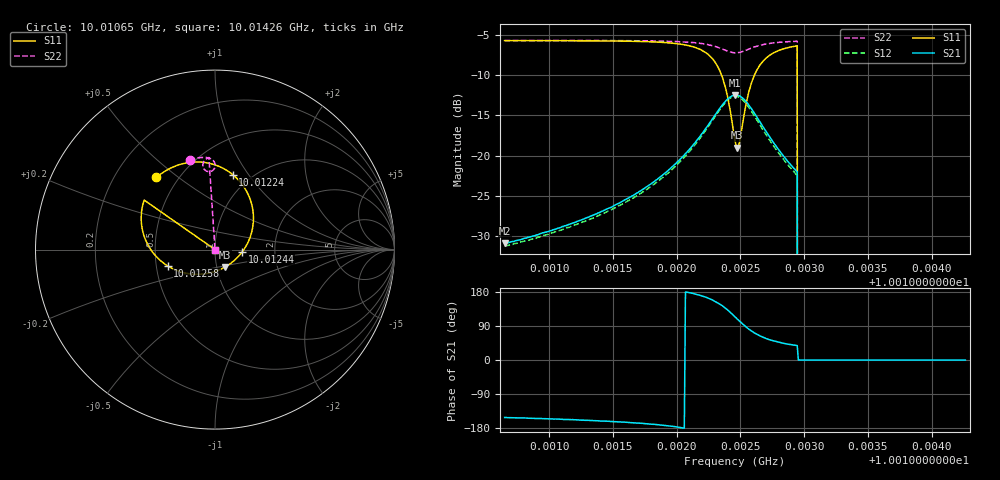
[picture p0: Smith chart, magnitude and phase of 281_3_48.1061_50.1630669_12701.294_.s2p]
#  HZ  S  RI  R  50.00
! Rohde & Schwarz Vector Network Analyzer
! Rohde-Schwarz,ZNB20-2Port,1311601062101988,3.16
! Created: UTC 12/23/2023, 4:02:46 AM
! freq[Hz]  re:S11  im:S11  re:S21  im:S21  re:S12  im:S12  re:S22  im:S22
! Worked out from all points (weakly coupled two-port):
!   401 points, 10.01065 GHz to 10.01426 GHz, reference 50 ohm
!   highest |S21| = -12.46 dB at 10.01246 GHz (marker M1); lowest = -30.9 dB at 10.01065 GHz (marker M2)
!   lowest |S11| = -19.0 dB at 10.01248 GHz (marker M3), VSWR 1.25, Z = 54.8 - j10.8 ohm
!   |S11| at or under -10 dB: 10.01235 GHz to 10.01261 GHz (257.5 kHz wide, 0.00257 % of centre); 10.01295 GHz to end of sweep
!   |S22| runs from - to -5.7 dB; largest |S21 - S12| = 0.011
!   S11 on the Smith chart (normalised r, x): 10.01065 GHz: 0.38, +0.42; 10.01224 GHz: 0.83, +0.85; 10.01244 GHz: 1.36, -0.04; 10.01258 GHz: 0.57, -0.11; 10.01426 GHz: 1.00, +0.00
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1.0010651e10  -0.3268 0.4023  -0.0251 -0.0135  -0.0234 -0.0142  -0.1412 0.4998
1.0011256e10  -0.2693 0.4421  -0.0372 -0.0145  -0.0351 -0.0159  -0.0999 0.5099
1.0011573e10  -0.2221 0.4649  -0.0499 -0.0146  -0.0471 -0.0165  -0.0759 0.5132
1.0011862e10  -0.1497 0.4846  -0.0718 -0.0113  -0.0685 -0.0147  -0.0504 0.5133
1.0012105e10  -0.0266 0.4798  -0.1106 0.00518  -0.1073 -0.001  -0.0231 0.506
1.0012241e10  0.0987 0.4179  -0.1468 0.0415  -0.1451 0.0327  -0.0054 0.4905
1.0012304e10  0.1683 0.3383  -0.1621 0.0786  -0.163 0.0677  0.000703 0.4764
1.0012358e10  0.2101 0.2255  -0.1651 0.1235  -0.1678 0.1137  0.000106 0.46
1.0012403e10  0.2043 0.0962  -0.1486 0.1703  -0.153 0.1618  -0.00822 0.4451
1.001244e10  0.1517 -0.0129  -0.1171 0.2051  -0.123 0.197  -0.0207 0.4366
1.0012458e10  0.1076 -0.0604  -0.0959 0.2181  -0.1028 0.21  -0.0285 0.4345
1.0012476e10  0.0558 -0.0974  -0.0732 0.2261  -0.0798 0.2187  -0.0364 0.4344
1.0012494e10  0.000136 -0.1221  -0.051 0.2295  -0.0557 0.2228  -0.0442 0.4362
1.0012521e10  -0.0904 -0.1379  -0.016 0.2262  -0.0208 0.2197  -0.0542 0.4415
1.0012584e10  -0.2638 -0.0907  0.0445 0.192  0.0373 0.1862  -0.0668 0.4609
1.0012638e10  -0.3503 -0.0109  0.068 0.155  0.0608 0.1503  -0.0674 0.4767
1.0012701e10  -0.3964 0.0794  0.0774 0.1179  0.0703 0.115  -0.0622 0.4906
1.0012927e10  -0.3974 0.2671  0.0639 0.0518  0.0586 0.0518  -0.0359 0.5122
1.0012972e10  0 0  0 0  0 0  0 0
1.0013063e10  0 0  0 0  0 0  0 0
1.0013668e10  0 0  0 0  0 0  0 0
1.0014264e10  0 0  0 0  0 0  0 0
